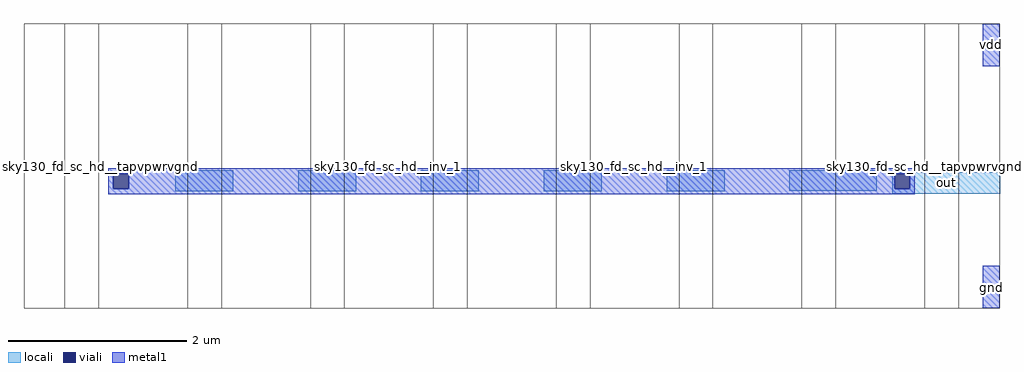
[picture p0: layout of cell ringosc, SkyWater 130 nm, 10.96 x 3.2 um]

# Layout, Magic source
magic
tech sky130A
magscale 1 2
<< locali >>
rect 230 201 360 249
rect 506 201 636 249
rect 782 201 912 249
rect 1058 201 1188 249
rect 1334 201 1464 249
rect 1610 202 1806 249
rect 1841 241 2083 244
rect 1841 207 1846 241
rect 1880 207 2083 241
rect 1841 196 2083 207
<< viali >>
rect 91 207 125 241
rect 1846 207 1880 241
<< metal1 >>
rect 2044 482 2082 578
rect 79 241 1892 253
rect 79 207 91 241
rect 125 207 1846 241
rect 1880 207 1892 241
rect 79 195 1892 207
rect 2044 -62 2082 34
use sky130_fd_sc_hd__tapvpwrvgnd_1  sky130_fd_sc_hd__tapvpwrvgnd_1_1 $PDKPATH/libs.ref/sky130_fd_sc_hd/mag
transform 1 0 1952 0 1 -14
box -38 -48 130 592
use sky130_fd_sc_hd__tapvpwrvgnd_1  sky130_fd_sc_hd__tapvpwrvgnd_1_0
transform 1 0 -72 0 1 -14
box -38 -48 130 592
use sky130_fd_sc_hd__inv_1  sky130_fd_sc_hd__inv_1_0 $PDKPATH/libs.ref/sky130_fd_sc_hd/mag
array 0 6 276 0 0 544
transform 1 0 20 0 1 -14
box -38 -48 314 592
<< labels >>
flabel locali 1841 196 2083 244 1 FreeSans 400 0 0 0 out
flabel metal1 2044 482 2082 578 1 FreeSans 400 0 0 0 vdd
flabel metal1 2044 -62 2082 34 1 FreeSans 400 0 0 0 gnd
<< end >>
